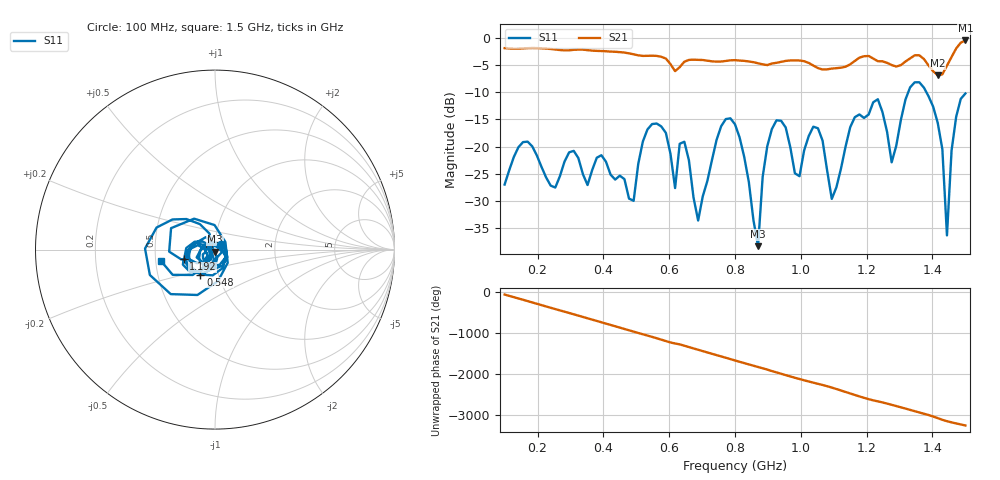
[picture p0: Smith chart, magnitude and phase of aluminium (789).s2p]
! NanoVNA-App
! Date: 2025-09-25 15:01:25
! Start: 100MHz Stop: 1,5GHz Points: 101
! S-Parameter data: F S11 S21 S12 S22
# Hz S RI R 50
!  Frequency  S11_Real  S11_Imag  S21_Real  S21_Imag  S12_Real  S12_Imag  S22_Real  S22_Imag
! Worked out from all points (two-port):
!   101 points, 100 MHz to 1.5 GHz, reference 50 ohm
!   highest |S21| = -0.51 dB at 1.5 GHz (marker M1); lowest = -6.9 dB at 1.416 GHz (marker M2)
!   |S21| within 3 dB of the highest: start of sweep to 576.1 MHz; 1.458 GHz to end of sweep (the widest 2 of 4)
!   lowest |S11| = -38.3 dB at 870 MHz (marker M3), VSWR 1.02, Z = 50 - j1.22 ohm
!   |S11| at or under -10 dB: start of sweep to 1.326 GHz; 1.381 GHz to end of sweep
!   S12 and S22 are empty: the file has one direction only
!   S11 on the Smith chart (normalised r, x): 100 MHz: 1.07, +0.06; 548 MHz: 0.82, -0.23; 1.192 GHz: 0.70, -0.08; 1.5 GHz: 0.53, -0.07
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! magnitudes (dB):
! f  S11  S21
! 100 MHz  -27.0  -1.9
! 338 MHz  -25.1  -2.2
! 492 MHz  -29.9  -3.1
! 548 MHz  -15.9  -3.3
! 576 MHz  -16.3  -3.5
! 618 MHz  -27.6  -6.1
! 646 MHz  -19.1  -4.4
! 688 MHz  -33.6  -4.1
! 800 MHz  -15.9  -4.1
! 870 MHz  -38.3  -4.7
! 912 MHz  -16.8  -4.7
! 996 MHz  -25.4  -4.2
! 1.038 GHz  -16.3  -5.1
! 1.094 GHz  -29.6  -5.7
! 1.192 GHz  -14.7  -3.4
! 1.234 GHz  -11.3  -4.3
! 1.276 GHz  -22.9  -5.0
! 1.346 GHz  -8.2  -3.2
! 1.416 GHz  -15.6  -6.9
! 1.444 GHz  -36.3  -5.1
! 1.458 GHz  -20.7  -3.5
! 1.5 GHz  -10.2  -0.5
